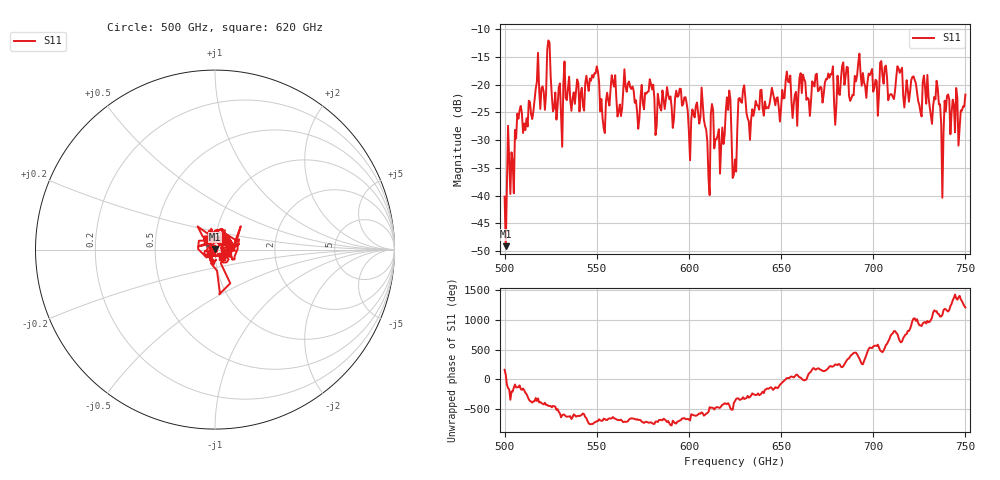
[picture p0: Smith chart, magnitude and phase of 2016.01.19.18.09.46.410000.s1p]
!Created with skrf (http://scikit-rf.org).
# GHz S RI R 50.0
!freq ReS11 ImS11
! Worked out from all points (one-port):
!   401 points, 500 GHz to 750 GHz, reference 50 ohm
!   lowest |S11| = -49.1 dB at 500.6 GHz (marker M1), VSWR 1.01, Z = 50.1 + j0.343 ohm
!   |S11| at or under -10 dB: start of sweep to end of sweep
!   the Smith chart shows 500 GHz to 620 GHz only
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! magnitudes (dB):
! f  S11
! 500 GHz  -40.2
! 500.6 GHz  -49.1
! 508.1 GHz  -24.6
! 523.8 GHz  -12.0
! 526.9 GHz  -24.2
! 531.2 GHz  -31.2
! 549.4 GHz  -18.0
! 553.1 GHz  -26.0
! 558.8 GHz  -19.5
! 562.5 GHz  -23.6
! 566.2 GHz  -21.3
! 571.9 GHz  -24.9
! 593.8 GHz  -22.2
! 607.5 GHz  -23.5
! 610 GHz  -30.3
! 613.1 GHz  -24.6
! 618.1 GHz  -27.7
! 621.2 GHz  -24.6
! 625 GHz  -33.5
! 628.8 GHz  -23.3
! 632.5 GHz  -26.6
! 656.2 GHz  -26.0
! 687.5 GHz  -22.9
! 718.8 GHz  -21.0
! 734.4 GHz  -19.3
! 738.1 GHz  -28.7
! 740 GHz  -22.0
! 750 GHz  -21.8
